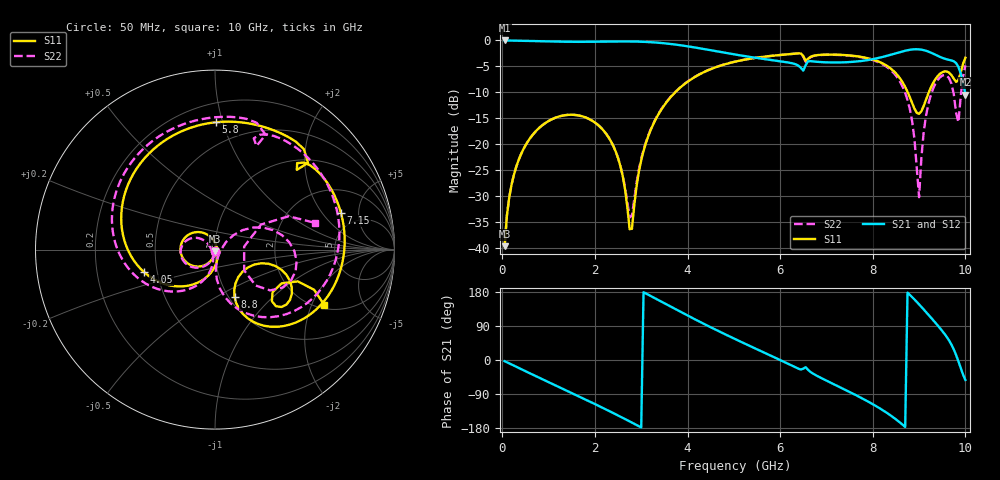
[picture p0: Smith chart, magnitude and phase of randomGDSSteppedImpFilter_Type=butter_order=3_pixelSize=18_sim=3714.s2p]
! freq	dB(S11)	phase(S11)	dB(S12)	phase(S12)
!  dB(S21)	phase(S21)	dB(S22)	phase(S22)
!S-par simulation data
#  GHz  S  DB  R 50
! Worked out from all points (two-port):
!   200 points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, 50 MHz to 10 GHz, reference 50 ohm
!   highest |S21| = -0.01 dB at 50 MHz (marker M1); lowest = -10.4 dB at 10 GHz (marker M2)
!   |S21| within 3 dB of the highest: start of sweep to 5.227 GHz; 8.288 GHz to 9.413 GHz (1.124 GHz wide, 12.7 % of centre)
!   lowest |S11| = -39.6 dB at 50 MHz (marker M3), VSWR 1.02, Z = 50 - j1.05 ohm
!   |S11| at or under -10 dB: start of sweep to 3.731 GHz; 8.755 GHz to 9.21 GHz (454.4 MHz wide, 5.06 % of centre)
!   |S22| runs from -39.6 to -2.5 dB; largest |S21 - S12| = 0
!   S11 on the Smith chart (normalised r, x): 50 MHz: 1.00, -0.02; 4.05 GHz: 0.42, -0.13; 5.8 GHz: 0.33, +0.95; 7.15 GHz: 3.56, +3.13; 8.8 GHz: 1.06, -0.61; 10 GHz: 2.17, -2.47
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0.05  -39.60 -92.1  -0.01 -3.0  -0.01 -3.0  -39.60 -91.9
0.2  -27.76 -102.3  -0.03 -11.9  -0.03 -11.9  -27.76 -101.3
0.55  -19.48 -124.3  -0.09 -32.4  -0.09 -32.4  -19.48 -121.5
1.75  -14.68 162.4  -0.27 -101.7  -0.27 -101.7  -14.68 173.3
2.45  -21.42 113.8  -0.21 -143.3  -0.21 -143.3  -21.40 140.8
2.75  -36.34 40.3  -0.20 -162.0  -0.20 -162.0  -34.08 -177.3
3.05  -21.28 -88.1  -0.27 178.8  -0.27 178.8  -21.07 -99.7
3.4  -13.79 -116.8  -0.46 156.1  -0.46 156.1  -13.71 -114.3
4.05  -7.65 -162.4  -1.20 114.2  -1.20 114.2  -7.61 -151.2
5.05  -4.04 134.1  -2.75 54.0  -2.75 54.0  -4.02 152.9
5.8  -2.98 89.7  -3.77 11.3  -3.77 11.3  -2.98 112.3
6.7  -3.00 41.6  -4.03 -35.3  -4.03 -35.3  -3.05 65.7
7.15  -2.72 16.3  -4.25 -63.3  -4.25 -63.3  -2.76 38.8
7.8  -3.25 -19.5  -3.90 -103.2  -3.90 -103.2  -3.32 -1.7
8.35  -5.16 -51.2  -2.85 -143.3  -2.85 -143.3  -5.41 -42.1
8.8  -10.93 -67.5  -1.80 171.9  -1.80 171.9  -13.21 -82.9
9  -14.14 -39.1  -1.72 146.9  -1.72 146.9  -30.18 -10.4
9.1  -12.60 -20.8  -1.87 133.4  -1.87 133.4  -17.62 38.1
9.3  -8.24 -16.9  -2.53 105.7  -2.53 105.7  -9.35 18.6
9.6  -5.98 -37.6  -3.64 60.5  -3.64 60.5  -6.80 -21.9
9.8  -7.98 -36.5  -4.37 12.9  -4.37 12.9  -14.01 -35.3
10  -3.34 -26.8  -10.41 -52.8  -10.41 -52.8  -4.81 15.1
